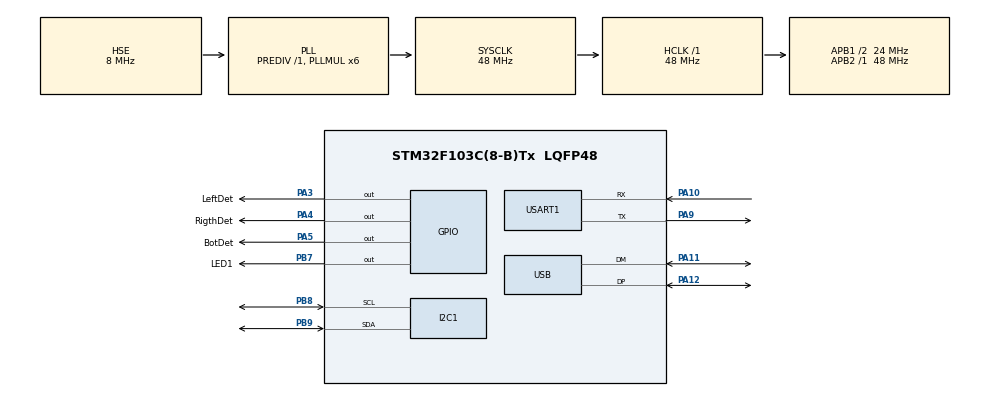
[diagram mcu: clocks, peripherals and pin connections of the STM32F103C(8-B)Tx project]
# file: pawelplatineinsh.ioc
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Mcu.Family=STM32F1
Mcu.Name=STM32F103C(8-B)Tx
Mcu.Package=LQFP48
NVIC.PriorityGroup=NVIC_PRIORITYGROUP_4
NVIC.USB_LP_CAN1_RX0_IRQn=true\:0\:0\:false\:false\:true\:false\:true\:true
PA10.Mode=Asynchronous
PA10.Signal=USART1_RX
PA11.Mode=Device
PA11.Signal=USB_DM
PA12.Mode=Device
PA12.Signal=USB_DP
PA13.Mode=Serial_Wire
PA13.Signal=SYS_JTMS-SWDIO
PA14.Mode=Serial_Wire
PA14.Signal=SYS_JTCK-SWCLK
PA3.GPIO_Label=LeftDet
PA3.Signal=GPIO_Output
PA4.GPIO_Label=RigthDet
PA4.Signal=GPIO_Output
PA5.GPIO_Label=BotDet
PA5.Signal=GPIO_Output
PA9.Mode=Asynchronous
PA9.Signal=USART1_TX
PB7.GPIO_Label=LED1
PB7.Signal=GPIO_Output
PB8.Mode=I2C
PB8.Signal=I2C1_SCL
PB9.Mode=I2C
PB9.Signal=I2C1_SDA
PD0-OSC_IN.Mode=HSE-External-Oscillator
PD0-OSC_IN.Signal=RCC_OSC_IN
PD1-OSC_OUT.Mode=HSE-External-Oscillator
PD1-OSC_OUT.Signal=RCC_OSC_OUT
ProjectManager.HeapSize=0x200
ProjectManager.StackSize=0x400
ProjectManager.TargetToolchain=STM32CubeIDE
RCC.AHBFreq_Value=48000000
RCC.APB1CLKDivider=RCC_HCLK_DIV2
RCC.APB1Freq_Value=24000000
RCC.APB1TimFreq_Value=48000000
RCC.APB2Freq_Value=48000000
RCC.APB2TimFreq_Value=48000000
RCC.HCLKFreq_Value=48000000
RCC.PLLMUL=RCC_PLL_MUL6
RCC.SYSCLKFreq_VALUE=48000000
RCC.SYSCLKSource=RCC_SYSCLKSOURCE_PLLCLK
RCC.USBFreq_Value=48000000
USART1.VirtualMode=VM_ASYNC
USB_DEVICE.CLASS_NAME_FS=CDC
USB_DEVICE.VirtualMode=Cdc
USB_DEVICE.VirtualModeFS=Cdc_FS
VP_USB_DEVICE_VS_USB_DEVICE_CDC_FS.Mode=CDC_FS
board=custom

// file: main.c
/* USER CODE BEGIN Header */
/**
  ******************************************************************************
  * @file           : main.c
  * @brief          : Main program body
  ******************************************************************************
  * @attention
  *
  * Copyright (c) 2025 STMicroelectronics.
  * All rights reserved.
  *
  * This software is licensed under terms that can be found in the LICENSE file
  * in the root directory of this software component.
  * If no LICENSE file comes with this software, it is provided AS-IS.
  *
  ******************************************************************************
  */
/* USER CODE END Header */
#include "main.h"
#include "usb_device.h"

/* USER CODE BEGIN Includes */
#include <string.h>
#include "usbd_cdc_if.h"
/* USER CODE END Includes */

/* USER CODE BEGIN PTD */
#define MAX_MODULES 16
#define STRLEN_BOARD_TYPE 4 //ich denke 3 zeichen reichen 100%
#define STRLEN_POSITION   6 //Le255 + NUL => 6 Zeichen
#define STRLEN_PIN_INFO   32 //auf sicher 32
#define STRLEN_LATEST     32 //auf sicher 32
#define I2C_READ_LENGTH   32

typedef struct {
    uint8_t address;
    char board_type[STRLEN_BOARD_TYPE];
    char position[STRLEN_POSITION];
    char pin_info[STRLEN_PIN_INFO];
    char latest_values[STRLEN_LATEST];
} ModuleInfo;

ModuleInfo modules[MAX_MODULES];
uint8_t module_count = 0;

/* USER CODE END PTD */

I2C_HandleTypeDef hi2c1;

UART_HandleTypeDef huart1;

/* USER CODE BEGIN PV */
#define LD2_Pin GPIO_PIN_5
#define LD2_GPIO_Port GPIOA

/* USER CODE END PV */

void SystemClock_Config(void);
static void MX_GPIO_Init(void);
static void MX_I2C1_Init(void);
static void MX_USART1_UART_Init(void);
/* USER CODE BEGIN PFP */
static void Blink_SOS_LED1(void);
/* USER CODE END PFP */

/* USER CODE BEGIN 0 */
// Hilfsfunktion: Lese String vom I2C-Slave
uint8_t i2c_read_string(uint8_t addr, char* buffer, uint16_t buflen, const char* cmd) {
    if (HAL_I2C_Master_Transmit(&hi2c1, addr << 1, (uint8_t*)cmd, strlen(cmd), 100) != HAL_OK)
        return 0;
    HAL_Delay(5);
    uint8_t rx[I2C_READ_LENGTH + 1] = {0};
    if (HAL_I2C_Master_Receive(&hi2c1, addr << 1, rx, I2C_READ_LENGTH, 100) != HAL_OK)
        return 0;
    rx[I2C_READ_LENGTH] = '\0';
    strncpy(buffer, (char*)rx, buflen - 1);
    buffer[buflen - 1] = '\0';
    return 1;
}

// Zähler für Positionen
static uint8_t right_count = 0;
static uint8_t left_count = 0;

// Sucht nach neuen Modulen an Adresse 0x25, initialisiert und fügt sie zum Array hinzu
void scan_for_new_modules(void) {
    // Prüfe, ob schon ein Modul an 0x25 existiert
    for (uint8_t i = 0; i < module_count; ++i)
        if (modules[i].address == 0x25) return;

    char tmp[STRLEN_BOARD_TYPE];
    if (!i2c_read_string(0x25, tmp, sizeof(tmp), "getBoardType"))
        return; // Kein neues Modul gefunden

    // Finde freie Adresse (0x26 bis 0x2A, Beispiel)
    uint8_t new_addr = 0x26;
    for (; new_addr < 0x25 + MAX_MODULES + 1; ++new_addr) {
        uint8_t used = 0;
        for (uint8_t i = 0; i < module_count; ++i)
            if (modules[i].address == new_addr) used = 1;
        if (!used) break;
    }
    if (new_addr > 0x25 + MAX_MODULES) return; // Kein Platz mehr

    // Setze neue Adresse
    char setAddrCmd[24];
    snprintf(setAddrCmd, sizeof(setAddrCmd), "setI2CAddr 0x%02X", new_addr);
    HAL_I2C_Master_Transmit(&hi2c1, 0x25 << 1, (uint8_t*)setAddrCmd, strlen(setAddrCmd), 100);
    HAL_Delay(10);

    // Initialisiere Struct
    ModuleInfo* m = &modules[module_count];
    m->address = new_addr;
    i2c_read_string(new_addr, m->board_type, STRLEN_BOARD_TYPE, "getBoardType");

    // getInfo auslesen und Position/Pins extrahieren
    char info_raw[STRLEN_PIN_INFO + STRLEN_POSITION + 8] = {0};
    if (i2c_read_string(new_addr, info_raw, sizeof(info_raw), "getInfo")) {
        // Erwartetes Format: P,R;A,2;D,4;
        // Position extrahieren und zählen
        if (info_raw[2] == 'R') {
            right_count++;
            snprintf(m->position, STRLEN_POSITION, "Ri%u", right_count);
        } else if (info_raw[2] == 'L') {
            left_count++;
            snprintf(m->position, STRLEN_POSITION, "Le%u", left_count);
        } else {
            strncpy(m->position, "?", STRLEN_POSITION - 1);
            m->position[STRLEN_POSITION - 1] = '\0';
        }

        // Pins extrahieren (alles nach erstem Semikolon)
        char* pins_start = strchr(info_raw, ';');
        if (pins_start && *(pins_start + 1)) {
            strncpy(m->pin_info, pins_start + 1, STRLEN_PIN_INFO - 1);
            m->pin_info[STRLEN_PIN_INFO - 1] = '\0';
        } else {
            m->pin_info[0] = '\0';
        }
    } else {
        strncpy(m->position, "?", STRLEN_POSITION - 1);
        m->position[STRLEN_POSITION - 1] = '\0';
        m->pin_info[0] = '\0';
    }

    m->latest_values[0] = '\0'; // Noch keine Werte

    module_count++;
}

// Fragt alle Module nach aktuellen Werten ab
void update_all_modules(void) {
    for (uint8_t i = 0; i < module_count; ++i) {
        i2c_read_string(modules[i].address, modules[i].latest_values, STRLEN_LATEST, "getNew");
    }
}

// Sendet Status aller Module über UART (kompaktes Textformat)
void send_status_update(void) {
  // Erst alle Module aktualisieren, dann Status senden
  update_all_modules();

  for (uint8_t i = 0; i < module_count; ++i) {
    if (modules[i].latest_values[0] != '\0') {
      char line[128];
      int n = snprintf(line, sizeof(line),
          "Addr:0x%02X Type:%s Pos:%s Pins:%s Values:%s\r\n",
          modules[i].address,
          modules[i].board_type,
          modules[i].position,
          modules[i].pin_info,
          modules[i].latest_values);
      if (n > 0) {
        CDC_Transmit_FS((uint8_t*)line, (uint16_t)strnlen(line, sizeof(line)));
      }
    }
  }
  // No explicit newline - let hterm handle line breaks naturally
}
/* USER CODE END 0 */

int main(void)
{

  /* MCU Configuration--------------------------------------------------------*/

  /* Reset of all peripherals, Initializes the Flash interface and the Systick. */
  HAL_Init();

  /* Configure the system clock */
  SystemClock_Config();

  /* Initialize all configured peripherals */
  MX_GPIO_Init();
  MX_I2C1_Init();
  MX_USART1_UART_Init();
  MX_USB_DEVICE_Init();

  /* Infinite loop */
  while (1)
  {

    /* USER CODE BEGIN 3 */
    static uint32_t last_usb_ms = 0;
    static uint32_t last_i2c_ms = 0;
    static uint32_t last_update_ms = 0;
    static uint32_t last_led_ms = 0;
    static uint32_t last_status_ms = 0;
    static uint8_t led_state = 0;
    uint32_t now_ms = HAL_GetTick();

    // LED1 blinkt einmal pro Sekunde (nicht-blockierend)
    if (now_ms - last_led_ms >= 1000) {
      led_state = !led_state;
      HAL_GPIO_WritePin(LED1_GPIO_Port, LED1_Pin, led_state ? GPIO_PIN_SET : GPIO_PIN_RESET);
      last_led_ms = now_ms;
    }

    // Update latest_values via I2C every second
    if (now_ms - last_update_ms >= 1000) {
      update_all_modules();
      last_update_ms = now_ms;
    }

    // Status output every 50ms (includes update_all_modules)
    if (now_ms - last_status_ms >= 50) {
      send_status_update();
      last_status_ms = now_ms;
    }

    if (now_ms - last_i2c_ms >= 5000) {
      scan_for_new_modules();
      last_i2c_ms = now_ms;
    }
  }
  /* USER CODE END 3 */
}

void SystemClock_Config(void)
{
  RCC_OscInitTypeDef RCC_OscInitStruct = {0};
  RCC_ClkInitTypeDef RCC_ClkInitStruct = {0};
  RCC_PeriphCLKInitTypeDef PeriphClkInit = {0};

  RCC_OscInitStruct.OscillatorType = RCC_OSCILLATORTYPE_HSE;
  RCC_OscInitStruct.HSEState = RCC_HSE_ON;
  RCC_OscInitStruct.HSEPredivValue = RCC_HSE_PREDIV_DIV1;
  RCC_OscInitStruct.HSIState = RCC_HSI_ON;
  RCC_OscInitStruct.PLL.PLLState = RCC_PLL_ON;
  RCC_OscInitStruct.PLL.PLLSource = RCC_PLLSOURCE_HSE;
  RCC_OscInitStruct.PLL.PLLMUL = RCC_PLL_MUL6;
  if (HAL_RCC_OscConfig(&RCC_OscInitStruct) != HAL_OK)
  {
    Error_Handler();
  }

  RCC_ClkInitStruct.ClockType = RCC_CLOCKTYPE_HCLK|RCC_CLOCKTYPE_SYSCLK
                              |RCC_CLOCKTYPE_PCLK1|RCC_CLOCKTYPE_PCLK2;
  RCC_ClkInitStruct.SYSCLKSource = RCC_SYSCLKSOURCE_PLLCLK;
  RCC_ClkInitStruct.AHBCLKDivider = RCC_SYSCLK_DIV1;
  RCC_ClkInitStruct.APB1CLKDivider = RCC_HCLK_DIV2;
  RCC_ClkInitStruct.APB2CLKDivider = RCC_HCLK_DIV1;

  if (HAL_RCC_ClockConfig(&RCC_ClkInitStruct, FLASH_LATENCY_1) != HAL_OK)
  {
    Error_Handler();
  }

  PeriphClkInit.PeriphClockSelection = RCC_PERIPHCLK_USB;
  PeriphClkInit.UsbClockSelection = RCC_USBCLKSOURCE_PLL;
  if (HAL_RCCEx_PeriphCLKConfig(&PeriphClkInit) != HAL_OK)
  {
    Error_Handler();
  }
}

static void MX_I2C1_Init(void)
{

  hi2c1.Instance = I2C1;
  hi2c1.Init.ClockSpeed = 100000;
  hi2c1.Init.DutyCycle = I2C_DUTYCYCLE_2;
  hi2c1.Init.OwnAddress1 = 0;
  hi2c1.Init.AddressingMode = I2C_ADDRESSINGMODE_7BIT;
  hi2c1.Init.DualAddressMode = I2C_DUALADDRESS_DISABLE;
  hi2c1.Init.OwnAddress2 = 0;
  hi2c1.Init.GeneralCallMode = I2C_GENERALCALL_DISABLE;
  hi2c1.Init.NoStretchMode = I2C_NOSTRETCH_DISABLE;
  if (HAL_I2C_Init(&hi2c1) != HAL_OK)
  {
    Error_Handler();
  }

}

static void MX_USART1_UART_Init(void)
{

  huart1.Instance = USART1;
  huart1.Init.BaudRate = 115200;
  huart1.Init.WordLength = UART_WORDLENGTH_8B;
  huart1.Init.StopBits = UART_STOPBITS_1;
  huart1.Init.Parity = UART_PARITY_NONE;
  huart1.Init.Mode = UART_MODE_TX_RX;
  huart1.Init.HwFlowCtl = UART_HWCONTROL_NONE;
  huart1.Init.OverSampling = UART_OVERSAMPLING_16;
  if (HAL_UART_Init(&huart1) != HAL_OK)
  {
    Error_Handler();
  }

}

static void MX_GPIO_Init(void)
{
  GPIO_InitTypeDef GPIO_InitStruct = {0};

  /* GPIO Ports Clock Enable */
  __HAL_RCC_GPIOD_CLK_ENABLE();
  __HAL_RCC_GPIOA_CLK_ENABLE();
  __HAL_RCC_GPIOB_CLK_ENABLE();

  /*Configure GPIO pin Output Level */
  HAL_GPIO_WritePin(GPIOA, LeftDet_Pin|RigthDet_Pin|BotDet_Pin, GPIO_PIN_RESET);

  /*Configure GPIO pin Output Level */
  HAL_GPIO_WritePin(LED1_GPIO_Port, LED1_Pin, GPIO_PIN_RESET);

  /*Configure GPIO pins : LeftDet_Pin RigthDet_Pin BotDet_Pin */
  GPIO_InitStruct.Pin = LeftDet_Pin|RigthDet_Pin|BotDet_Pin;
  GPIO_InitStruct.Mode = GPIO_MODE_OUTPUT_PP;
  GPIO_InitStruct.Pull = GPIO_NOPULL;
  GPIO_InitStruct.Speed = GPIO_SPEED_FREQ_LOW;
  HAL_GPIO_Init(GPIOA, &GPIO_InitStruct);

  /*Configure GPIO pin : LED1_Pin */
  GPIO_InitStruct.Pin = LED1_Pin;
  GPIO_InitStruct.Mode = GPIO_MODE_OUTPUT_PP;
  GPIO_InitStruct.Pull = GPIO_NOPULL;
  GPIO_InitStruct.Speed = GPIO_SPEED_FREQ_LOW;
  HAL_GPIO_Init(LED1_GPIO_Port, &GPIO_InitStruct);

}

void Error_Handler(void)
{
    __disable_irq();
    while (1)
    {
    }
}

static void BlinkDelay(uint32_t ms)
{
  HAL_Delay(ms);
}

static void Blink_Short(void)
{
  HAL_GPIO_WritePin(LED1_GPIO_Port, LED1_Pin, GPIO_PIN_SET);
  BlinkDelay(200);
  HAL_GPIO_WritePin(LED1_GPIO_Port, LED1_Pin, GPIO_PIN_RESET);
  BlinkDelay(200);
}

static void Blink_Long(void)
{
  HAL_GPIO_WritePin(LED1_GPIO_Port, LED1_Pin, GPIO_PIN_SET);
  BlinkDelay(600);
  HAL_GPIO_WritePin(LED1_GPIO_Port, LED1_Pin, GPIO_PIN_RESET);
  BlinkDelay(200);
}

static void Blink_SOS_LED1(void)
{
  for (int i = 0; i < 3; i++) { Blink_Short(); }
  BlinkDelay(300);
  for (int i = 0; i < 3; i++) { Blink_Long(); }
  BlinkDelay(300);
  for (int i = 0; i < 3; i++) { Blink_Short(); }
}
